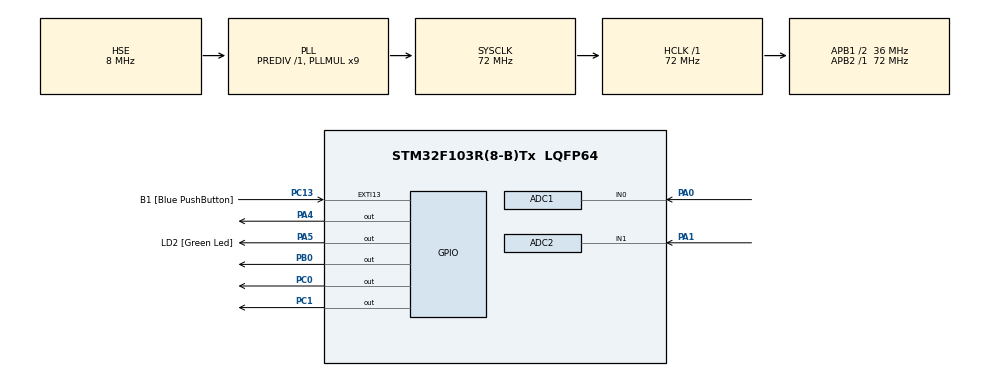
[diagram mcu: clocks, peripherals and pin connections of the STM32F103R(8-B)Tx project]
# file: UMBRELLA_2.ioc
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ADC1.Channel-0\#ChannelRegularConversion=ADC_CHANNEL_0
ADC1.NbrOfConversionFlag=1
ADC1.Rank-0\#ChannelRegularConversion=1
ADC1.SamplingTime-0\#ChannelRegularConversion=ADC_SAMPLETIME_1CYCLE_5
ADC1.master=1
ADC2.Channel-1\#ChannelRegularConversion=ADC_CHANNEL_1
ADC2.NbrOfConversionFlag=1
ADC2.Rank-1\#ChannelRegularConversion=1
ADC2.SamplingTime-1\#ChannelRegularConversion=ADC_SAMPLETIME_1CYCLE_5
Mcu.Family=STM32F1
Mcu.Name=STM32F103R(8-B)Tx
Mcu.Package=LQFP64
NVIC.ADC1_2_IRQn=true\:0\:0\:false\:false\:true\:true\:true\:true
NVIC.EXTI15_10_IRQn=true\:0\:0\:false\:false\:true\:true\:true\:true
NVIC.PriorityGroup=NVIC_PRIORITYGROUP_4
PA0-WKUP.Signal=ADCx_IN0
PA1.Signal=ADCx_IN1
PA13.GPIO_Label=TMS
PA13.Mode=Serial_Wire
PA13.Signal=SYS_JTMS-SWDIO
PA14.GPIO_Label=TCK
PA14.Mode=Serial_Wire
PA14.Signal=SYS_JTCK-SWCLK
PA4.Signal=GPIO_Output
PA5.GPIO_Label=LD2 [Green Led]
PA5.GPIO_ModeDefaultOutputPP=GPIO_MODE_OUTPUT_PP
PA5.GPIO_PuPd=GPIO_NOPULL
PA5.GPIO_Speed=GPIO_SPEED_FREQ_LOW
PA5.Signal=GPIO_Output
PB0.Signal=GPIO_Output
PB3.GPIO_Label=SWO
PB3.Signal=SYS_JTDO-TRACESWO
PC0.Signal=GPIO_Output
PC1.Signal=GPIO_Output
PC13-TAMPER-RTC.GPIO_Label=B1 [Blue PushButton]
PC13-TAMPER-RTC.GPIO_PuPd=GPIO_NOPULL
PC13-TAMPER-RTC.Signal=GPXTI13
PC14-OSC32_IN.Mode=LSE-External-Oscillator
PC14-OSC32_IN.Signal=RCC_OSC32_IN
PC15-OSC32_OUT.Mode=LSE-External-Oscillator
PC15-OSC32_OUT.Signal=RCC_OSC32_OUT
PD0-OSC_IN.Mode=HSE-External-Oscillator
PD0-OSC_IN.Signal=RCC_OSC_IN
PD1-OSC_OUT.Mode=HSE-External-Oscillator
PD1-OSC_OUT.Signal=RCC_OSC_OUT
ProjectManager.HeapSize=0x200
ProjectManager.StackSize=0x400
ProjectManager.TargetToolchain=STM32CubeIDE
RCC.ADCPresc=RCC_ADCPCLK2_DIV6
RCC.AHBFreq_Value=72000000
RCC.APB1CLKDivider=RCC_HCLK_DIV2
RCC.APB1Freq_Value=36000000
RCC.APB1TimFreq_Value=72000000
RCC.APB2Freq_Value=72000000
RCC.APB2TimFreq_Value=72000000
RCC.HCLKFreq_Value=72000000
RCC.PLLMUL=RCC_PLL_MUL9
RCC.PLLSourceVirtual=RCC_PLLSOURCE_HSE
RCC.RTCClockSelection=RCC_RTCCLKSOURCE_LSE
RCC.SYSCLKFreq_VALUE=72000000
RCC.SYSCLKSource=RCC_SYSCLKSOURCE_PLLCLK
RCC.USBFreq_Value=72000000
SH.ADCx_IN0.0=ADC1_IN0,IN0
SH.ADCx_IN1.0=ADC2_IN1,IN1
board=NUCLEO-F103RB

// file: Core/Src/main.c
/* USER CODE BEGIN Header */
/**
  ******************************************************************************
  * @file           : main.c
  * @brief          : Main program body
  ******************************************************************************
  * @attention
  *
  * Copyright (c) 2024 STMicroelectronics.
  * All rights reserved.
  *
  * This software is licensed under terms that can be found in the LICENSE file
  * in the root directory of this software component.
  * If no LICENSE file comes with this software, it is provided AS-IS.
  *
  ******************************************************************************
  */
/* USER CODE END Header */
#include "main.h"

/* USER CODE BEGIN PD */
#define stepsPerRev 2048
/* USER CODE END PD */

ADC_HandleTypeDef hadc1;
ADC_HandleTypeDef hadc2;

/* USER CODE BEGIN PV */
volatile uint8_t drive = 0, dir = 1;
uint16_t adcResult1, adcResult2;
int dif;
/* USER CODE END PV */

void SystemClock_Config(void);
static void MX_GPIO_Init(void);
static void MX_ADC1_Init(void);
static void MX_ADC2_Init(void);

/* USER CODE BEGIN 0 */
void stepper_set_rpm (uint16_t rpm)  // Set rpm--> max 13, min 1,,,  went to 14 rev/min
{
	HAL_Delay(60000000/stepsPerRev/rpm);
}

void stepper_full_drive (uint16_t step)
{
	switch (step % 4)
	{
		case 0:
			HAL_GPIO_WritePin(GPIOA, GPIO_PIN_4, GPIO_PIN_SET);      // IN1
			HAL_GPIO_WritePin(GPIOB, GPIO_PIN_0, GPIO_PIN_SET);      // IN2
			HAL_GPIO_WritePin(GPIOC, GPIO_PIN_1, GPIO_PIN_RESET);    // IN3
			HAL_GPIO_WritePin(GPIOC, GPIO_PIN_0, GPIO_PIN_RESET);    // IN4
			break;

		case 1:
			HAL_GPIO_WritePin(GPIOA, GPIO_PIN_4, GPIO_PIN_RESET);    // IN1
			HAL_GPIO_WritePin(GPIOB, GPIO_PIN_0, GPIO_PIN_SET);      // IN2
			HAL_GPIO_WritePin(GPIOC, GPIO_PIN_1, GPIO_PIN_SET);      // IN3
			HAL_GPIO_WritePin(GPIOC, GPIO_PIN_0, GPIO_PIN_RESET);    // IN4
			break;

		case 2:
			HAL_GPIO_WritePin(GPIOA, GPIO_PIN_4, GPIO_PIN_RESET);    // IN1
			HAL_GPIO_WritePin(GPIOB, GPIO_PIN_0, GPIO_PIN_RESET);    // IN2
			HAL_GPIO_WritePin(GPIOC, GPIO_PIN_1, GPIO_PIN_SET);      // IN3
			HAL_GPIO_WritePin(GPIOC, GPIO_PIN_0, GPIO_PIN_SET);      // IN4
			break;

		case 3:
			HAL_GPIO_WritePin(GPIOA, GPIO_PIN_4, GPIO_PIN_SET);      // IN1
			HAL_GPIO_WritePin(GPIOB, GPIO_PIN_0, GPIO_PIN_RESET);    // IN2
			HAL_GPIO_WritePin(GPIOC, GPIO_PIN_1, GPIO_PIN_RESET);    // IN3
			HAL_GPIO_WritePin(GPIOC, GPIO_PIN_0, GPIO_PIN_SET);      // IN4
			break;
	}
}

void stepper_control (int step, int direction, int rpm)
{

	if (direction == 1) {
		for (int i = 0; i < step; i++){
			stepper_full_drive(i);
			stepper_set_rpm(rpm);
		}
	}
	else {
		for (int i = step; i > 0; i--){
			stepper_full_drive(i);
			stepper_set_rpm(rpm);
		}
	}
}

void HAL_ADC_ConvCpltCallback(ADC_HandleTypeDef* hadc)
{

	if(hadc->Instance == ADC1) {
		adcResult1 = HAL_ADC_GetValue(&hadc1);
	}
	if(hadc->Instance == ADC2) {
		adcResult2 = HAL_ADC_GetValue(&hadc2);
	}

	if (HAL_ADC_GetState(&hadc1) == HAL_ADC_STATE_READY) {
		HAL_ADC_Start_IT(&hadc1);
	}
	if (HAL_ADC_GetState(&hadc2) == HAL_ADC_STATE_READY) {
		HAL_ADC_Start_IT(&hadc2);
	}
}
/* USER CODE END 0 */

int main(void)
{

  /* MCU Configuration--------------------------------------------------------*/

  /* Reset of all peripherals, Initializes the Flash interface and the Systick. */
  HAL_Init();

  /* Configure the system clock */
  SystemClock_Config();

  /* Initialize all configured peripherals */
  MX_GPIO_Init();
  MX_ADC1_Init();
  MX_ADC2_Init();
  /* USER CODE BEGIN 2 */
  HAL_ADCEx_Calibration_Start(&hadc1);
  HAL_ADCEx_Calibration_Start(&hadc2);

  HAL_ADC_Start_IT(&hadc1);
  HAL_ADC_Start_IT(&hadc2);
  /* USER CODE END 2 */

  /* Infinite loop */
  while (1)
  {

    /* USER CODE BEGIN 3 */
//	  stepper_control(200, 1, 10);
//	  HAL_SuspendTick();
//	  HAL_PWR_EnableSleepOnExit ();
//	  HAL_PWR_EnterSLEEPMode(PWR_MAINREGULATOR_ON, PWR_SLEEPENTRY_WFI);
//
//	  HAL_ResumeTick();

  }
  /* USER CODE END 3 */
}

void SystemClock_Config(void)
{
  RCC_OscInitTypeDef RCC_OscInitStruct = {0};
  RCC_ClkInitTypeDef RCC_ClkInitStruct = {0};
  RCC_PeriphCLKInitTypeDef PeriphClkInit = {0};

  /** Initializes the RCC Oscillators according to the specified parameters
  * in the RCC_OscInitTypeDef structure.
  */
  RCC_OscInitStruct.OscillatorType = RCC_OSCILLATORTYPE_HSE;
  RCC_OscInitStruct.HSEState = RCC_HSE_ON;
  RCC_OscInitStruct.HSEPredivValue = RCC_HSE_PREDIV_DIV1;
  RCC_OscInitStruct.HSIState = RCC_HSI_ON;
  RCC_OscInitStruct.PLL.PLLState = RCC_PLL_ON;
  RCC_OscInitStruct.PLL.PLLSource = RCC_PLLSOURCE_HSE;
  RCC_OscInitStruct.PLL.PLLMUL = RCC_PLL_MUL9;
  if (HAL_RCC_OscConfig(&RCC_OscInitStruct) != HAL_OK)
  {
    Error_Handler();
  }

  /** Initializes the CPU, AHB and APB buses clocks
  */
  RCC_ClkInitStruct.ClockType = RCC_CLOCKTYPE_HCLK|RCC_CLOCKTYPE_SYSCLK
                              |RCC_CLOCKTYPE_PCLK1|RCC_CLOCKTYPE_PCLK2;
  RCC_ClkInitStruct.SYSCLKSource = RCC_SYSCLKSOURCE_PLLCLK;
  RCC_ClkInitStruct.AHBCLKDivider = RCC_SYSCLK_DIV1;
  RCC_ClkInitStruct.APB1CLKDivider = RCC_HCLK_DIV2;
  RCC_ClkInitStruct.APB2CLKDivider = RCC_HCLK_DIV1;

  if (HAL_RCC_ClockConfig(&RCC_ClkInitStruct, FLASH_LATENCY_2) != HAL_OK)
  {
    Error_Handler();
  }
  PeriphClkInit.PeriphClockSelection = RCC_PERIPHCLK_ADC;
  PeriphClkInit.AdcClockSelection = RCC_ADCPCLK2_DIV6;
  if (HAL_RCCEx_PeriphCLKConfig(&PeriphClkInit) != HAL_OK)
  {
    Error_Handler();
  }
}

static void MX_ADC1_Init(void)
{

  ADC_ChannelConfTypeDef sConfig = {0};

  /** Common config
  */
  hadc1.Instance = ADC1;
  hadc1.Init.ScanConvMode = ADC_SCAN_DISABLE;
  hadc1.Init.ContinuousConvMode = DISABLE;
  hadc1.Init.DiscontinuousConvMode = DISABLE;
  hadc1.Init.ExternalTrigConv = ADC_SOFTWARE_START;
  hadc1.Init.DataAlign = ADC_DATAALIGN_RIGHT;
  hadc1.Init.NbrOfConversion = 1;
  if (HAL_ADC_Init(&hadc1) != HAL_OK)
  {
    Error_Handler();
  }

  /** Configure Regular Channel
  */
  sConfig.Channel = ADC_CHANNEL_0;
  sConfig.Rank = ADC_REGULAR_RANK_1;
  sConfig.SamplingTime = ADC_SAMPLETIME_1CYCLE_5;
  if (HAL_ADC_ConfigChannel(&hadc1, &sConfig) != HAL_OK)
  {
    Error_Handler();
  }

}

static void MX_ADC2_Init(void)
{

  ADC_ChannelConfTypeDef sConfig = {0};

  /** Common config
  */
  hadc2.Instance = ADC2;
  hadc2.Init.ScanConvMode = ADC_SCAN_DISABLE;
  hadc2.Init.ContinuousConvMode = DISABLE;
  hadc2.Init.DiscontinuousConvMode = DISABLE;
  hadc2.Init.ExternalTrigConv = ADC_SOFTWARE_START;
  hadc2.Init.DataAlign = ADC_DATAALIGN_RIGHT;
  hadc2.Init.NbrOfConversion = 1;
  if (HAL_ADC_Init(&hadc2) != HAL_OK)
  {
    Error_Handler();
  }

  /** Configure Regular Channel
  */
  sConfig.Channel = ADC_CHANNEL_1;
  sConfig.Rank = ADC_REGULAR_RANK_1;
  sConfig.SamplingTime = ADC_SAMPLETIME_1CYCLE_5;
  if (HAL_ADC_ConfigChannel(&hadc2, &sConfig) != HAL_OK)
  {
    Error_Handler();
  }

}

static void MX_GPIO_Init(void)
{
  GPIO_InitTypeDef GPIO_InitStruct = {0};

  /* GPIO Ports Clock Enable */
  __HAL_RCC_GPIOC_CLK_ENABLE();
  __HAL_RCC_GPIOD_CLK_ENABLE();
  __HAL_RCC_GPIOA_CLK_ENABLE();
  __HAL_RCC_GPIOB_CLK_ENABLE();

  /*Configure GPIO pin Output Level */
  HAL_GPIO_WritePin(GPIOC, GPIO_PIN_0|GPIO_PIN_1, GPIO_PIN_RESET);

  /*Configure GPIO pin Output Level */
  HAL_GPIO_WritePin(GPIOA, GPIO_PIN_4|LD2_Pin, GPIO_PIN_RESET);

  /*Configure GPIO pin Output Level */
  HAL_GPIO_WritePin(GPIOB, GPIO_PIN_0, GPIO_PIN_RESET);

  /*Configure GPIO pin : B1_Pin */
  GPIO_InitStruct.Pin = B1_Pin;
  GPIO_InitStruct.Mode = GPIO_MODE_IT_RISING;
  GPIO_InitStruct.Pull = GPIO_NOPULL;
  HAL_GPIO_Init(B1_GPIO_Port, &GPIO_InitStruct);

  /*Configure GPIO pins : PC0 PC1 */
  GPIO_InitStruct.Pin = GPIO_PIN_0|GPIO_PIN_1;
  GPIO_InitStruct.Mode = GPIO_MODE_OUTPUT_PP;
  GPIO_InitStruct.Pull = GPIO_NOPULL;
  GPIO_InitStruct.Speed = GPIO_SPEED_FREQ_LOW;
  HAL_GPIO_Init(GPIOC, &GPIO_InitStruct);

  /*Configure GPIO pins : PA4 LD2_Pin */
  GPIO_InitStruct.Pin = GPIO_PIN_4|LD2_Pin;
  GPIO_InitStruct.Mode = GPIO_MODE_OUTPUT_PP;
  GPIO_InitStruct.Pull = GPIO_NOPULL;
  GPIO_InitStruct.Speed = GPIO_SPEED_FREQ_LOW;
  HAL_GPIO_Init(GPIOA, &GPIO_InitStruct);

  /*Configure GPIO pin : PB0 */
  GPIO_InitStruct.Pin = GPIO_PIN_0;
  GPIO_InitStruct.Mode = GPIO_MODE_OUTPUT_PP;
  GPIO_InitStruct.Pull = GPIO_NOPULL;
  GPIO_InitStruct.Speed = GPIO_SPEED_FREQ_LOW;
  HAL_GPIO_Init(GPIOB, &GPIO_InitStruct);

  /* EXTI interrupt init*/
  HAL_NVIC_SetPriority(EXTI15_10_IRQn, 0, 0);
  HAL_NVIC_EnableIRQ(EXTI15_10_IRQn);

}

void Error_Handler(void)
{
  __disable_irq();
  while (1)
  {
  }
}
